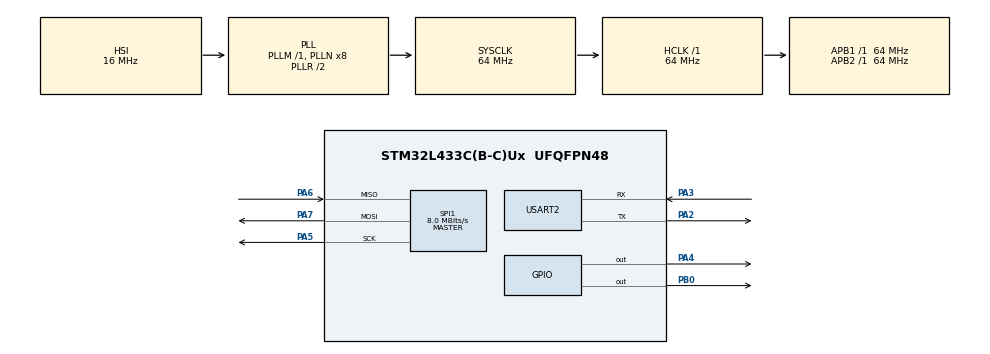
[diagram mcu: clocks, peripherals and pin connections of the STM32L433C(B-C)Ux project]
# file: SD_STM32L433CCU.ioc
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FATFS._MAX_SS=4096
FATFS._USE_LFN=1
Mcu.Family=STM32L4
Mcu.Name=STM32L433C(B-C)Ux
Mcu.Package=UFQFPN48
NVIC.PriorityGroup=NVIC_PRIORITYGROUP_4
NVIC.SPI1_IRQn=true\:0\:0\:false\:false\:true\:true\:true
NVIC.USART2_IRQn=true\:0\:0\:false\:false\:true\:true\:true
PA2.Mode=Asynchronous
PA2.Signal=USART2_TX
PA3.Mode=Asynchronous
PA3.Signal=USART2_RX
PA4.GPIO_ModeDefaultOutputPP=GPIO_MODE_OUTPUT_PP
PA4.GPIO_PuPd=GPIO_NOPULL
PA4.GPIO_Speed=GPIO_SPEED_FREQ_HIGH
PA4.PinState=GPIO_PIN_RESET
PA4.Signal=GPIO_Output
PA5.Mode=Full_Duplex_Master
PA5.Signal=SPI1_SCK
PA6.Mode=Full_Duplex_Master
PA6.Signal=SPI1_MISO
PA7.Mode=Full_Duplex_Master
PA7.Signal=SPI1_MOSI
PB0.GPIO_ModeDefaultOutputPP=GPIO_MODE_OUTPUT_PP
PB0.GPIO_PuPd=GPIO_NOPULL
PB0.GPIO_Speed=GPIO_SPEED_FREQ_HIGH
PB0.PinState=GPIO_PIN_RESET
PB0.Signal=GPIO_Output
ProjectManager.HeapSize=0x200
ProjectManager.StackSize=0x400
ProjectManager.TargetToolchain=STM32CubeIDE
RCC.ADCFreq_Value=64000000
RCC.AHBFreq_Value=64000000
RCC.APB1Freq_Value=64000000
RCC.APB1TimFreq_Value=64000000
RCC.APB2Freq_Value=64000000
RCC.APB2TimFreq_Value=64000000
RCC.CortexFreq_Value=64000000
RCC.HCLKFreq_Value=64000000
RCC.HSE_VALUE=8000000
RCC.HSI48_VALUE=48000000
RCC.HSI_VALUE=16000000
RCC.LSE_VALUE=32768
RCC.MSI_VALUE=4000000
RCC.PLLSourceVirtual=RCC_PLLSOURCE_HSI
RCC.SYSCLKFreq_VALUE=64000000
RCC.SYSCLKSource=RCC_SYSCLKSOURCE_PLLCLK
RCC.USBFreq_Value=64000000
RCC.VCOOutputFreq_Value=128000000
SPI1.BaudRatePrescaler=SPI_BAUDRATEPRESCALER_8
SPI1.CalculateBaudRate=8.0 MBits/s
SPI1.DataSize=SPI_DATASIZE_8BIT
SPI1.Direction=SPI_DIRECTION_2LINES
SPI1.Mode=SPI_MODE_MASTER
SPI1.VirtualType=VM_MASTER
USART2.VirtualMode-Asynchronous=VM_ASYNC
VP_FATFS_VS_Generic.Mode=User_defined
board=custom

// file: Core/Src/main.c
/* USER CODE BEGIN Header */
/**
  ******************************************************************************
  * @file           : main.c
  * @brief          : Main program body
  ******************************************************************************
  * @attention
  *
  * <h2><center>&copy; Copyright (c) 2020 STMicroelectronics.
  * All rights reserved.</center></h2>
  *
  * This software component is licensed by ST under BSD 3-Clause license,
  * the "License"; You may not use this file except in compliance with the
  * License. You may obtain a copy of the License at:
  *                        opensource.org/licenses/BSD-3-Clause
  *
  ******************************************************************************
  */
/* USER CODE END Header */

#include "main.h"
#include "fatfs.h"
/* USER CODE BEGIN Includes */
#include "fatfs_sd.h"
#include "string.h"
#include "stdio.h"
/* USER CODE END Includes */

/* USER CODE BEGIN PTD */
FATFS fs;  // file system
FIL fil; // File
FILINFO fno;
FRESULT fresult;  // result
UINT br, bw;  // File read/write count

/**** capacity related *****/
FATFS *pfs;
DWORD fre_clust;
uint32_t total, free_space;
/* USER CODE END PTD */

/* USER CODE BEGIN PM */
#define BUFFER_SIZE 128
char buffer[BUFFER_SIZE];  // to store strings..
/* USER CODE END PM */

SPI_HandleTypeDef hspi1;

UART_HandleTypeDef huart2;

void SystemClock_Config(void);
static void MX_GPIO_Init(void);
static void MX_USART2_UART_Init(void);
static void MX_SPI1_Init(void);

/* USER CODE BEGIN 0 */
volatile uint8_t FatFsCnt = 0;
volatile uint8_t Timer1, Timer2;

void SDTimer_Handler(void)
{
  if(Timer1 > 0)
    Timer1--;

  if(Timer2 > 0)
    Timer2--;
}

int i=0;
int bufsize (char *buf)
{
	int i=0;
	while (*buf++ != '\0') i++;
	return i;
}

void clear_buffer (void)
{
	for (int i=0; i<BUFFER_SIZE; i++) buffer[i] = '\0';
}
void SysTick_Handler(void)
{
  /* USER CODE BEGIN SysTick_IRQn 0 */

  /* USER CODE END SysTick_IRQn 0 */
	  /* USER CODE BEGIN SysTick_IRQn 0 */
	  FatFsCnt++;
	  if(FatFsCnt >= 10)
	  {
	    FatFsCnt = 0;
	    SDTimer_Handler();
	  }

	  /* USER CODE END SysTick_IRQn 0 */
	  HAL_IncTick();
	  HAL_SYSTICK_IRQHandler();
  /* USER CODE BEGIN SysTick_IRQn 1 */

  /* USER CODE END SysTick_IRQn 1 */
}
/* USER CODE END 0 */
int main(void)
{

  /* MCU Configuration--------------------------------------------------------*/

  /* Reset of all peripherals, Initializes the Flash interface and the Systick. */
  HAL_Init();

  /* Configure the system clock */
  SystemClock_Config();

  /* Initialize all configured peripherals */
  MX_GPIO_Init();
  MX_USART2_UART_Init();
  MX_SPI1_Init();
  MX_FATFS_Init();

  /* Infinite loop */
  while (1)
  {
	  	  fresult = f_mount(&fs, "",1);
	  	  if (fresult != FR_OK) printf ("ERROR!!! in mounting SD CARD...\n\n");
	  	  else printf("SD CARD mounted successfully...\n\n");
	  	  HAL_Delay(1000);
	  	  fresult = f_open(&fil, "file1.txt", FA_OPEN_ALWAYS | FA_READ | FA_WRITE);

	  	  	/* Writing text */
	  	  	f_puts("This data is from the FILE1.txt. And it was written using ...f_puts... ", &fil);

	  	  	/* Close file */
	  	  	fresult = f_close(&fil);

	  	  	if (fresult == FR_OK)printf ("File1.txt created and the data is written \n");

	  	  	/* Open file to read */
	  	  	fresult = f_open(&fil, "file1.txt", FA_READ);

	  	  	/* Read string from the file */
	  	  	f_gets(buffer, f_size(&fil), &fil);

	  	  	printf("File1.txt is opened and it contains the data as shown below\n");
	  	  	printf(buffer);
	  	  	printf("\n\n");

	  	  	/* Close file */
	  	  	f_close(&fil);

	  	  	clear_buffer();

	  	  printf("File1.txt is opened and it contains the data as shown below\n");
	  	  HAL_Delay(1000);
  }
}

void SystemClock_Config(void)
{
  RCC_OscInitTypeDef RCC_OscInitStruct = {0};
  RCC_ClkInitTypeDef RCC_ClkInitStruct = {0};
  RCC_PeriphCLKInitTypeDef PeriphClkInit = {0};

  /** Initializes the CPU, AHB and APB busses clocks
  */
  RCC_OscInitStruct.OscillatorType = RCC_OSCILLATORTYPE_HSI;
  RCC_OscInitStruct.HSIState = RCC_HSI_ON;
  RCC_OscInitStruct.HSICalibrationValue = RCC_HSICALIBRATION_DEFAULT;
  RCC_OscInitStruct.PLL.PLLState = RCC_PLL_ON;
  RCC_OscInitStruct.PLL.PLLSource = RCC_PLLSOURCE_HSI;
  RCC_OscInitStruct.PLL.PLLM = 1;
  RCC_OscInitStruct.PLL.PLLN = 8;
  RCC_OscInitStruct.PLL.PLLP = RCC_PLLP_DIV7;
  RCC_OscInitStruct.PLL.PLLQ = RCC_PLLQ_DIV2;
  RCC_OscInitStruct.PLL.PLLR = RCC_PLLR_DIV2;
  if (HAL_RCC_OscConfig(&RCC_OscInitStruct) != HAL_OK)
  {
    Error_Handler();
  }
  /** Initializes the CPU, AHB and APB busses clocks
  */
  RCC_ClkInitStruct.ClockType = RCC_CLOCKTYPE_HCLK|RCC_CLOCKTYPE_SYSCLK
                              |RCC_CLOCKTYPE_PCLK1|RCC_CLOCKTYPE_PCLK2;
  RCC_ClkInitStruct.SYSCLKSource = RCC_SYSCLKSOURCE_PLLCLK;
  RCC_ClkInitStruct.AHBCLKDivider = RCC_SYSCLK_DIV1;
  RCC_ClkInitStruct.APB1CLKDivider = RCC_HCLK_DIV1;
  RCC_ClkInitStruct.APB2CLKDivider = RCC_HCLK_DIV1;

  if (HAL_RCC_ClockConfig(&RCC_ClkInitStruct, FLASH_LATENCY_3) != HAL_OK)
  {
    Error_Handler();
  }
  PeriphClkInit.PeriphClockSelection = RCC_PERIPHCLK_USART2;
  PeriphClkInit.Usart2ClockSelection = RCC_USART2CLKSOURCE_PCLK1;
  if (HAL_RCCEx_PeriphCLKConfig(&PeriphClkInit) != HAL_OK)
  {
    Error_Handler();
  }
  /** Configure the main internal regulator output voltage
  */
  if (HAL_PWREx_ControlVoltageScaling(PWR_REGULATOR_VOLTAGE_SCALE1) != HAL_OK)
  {
    Error_Handler();
  }
}

static void MX_SPI1_Init(void)
{

  /* SPI1 parameter configuration*/
  hspi1.Instance = SPI1;
  hspi1.Init.Mode = SPI_MODE_MASTER;
  hspi1.Init.Direction = SPI_DIRECTION_2LINES;
  hspi1.Init.DataSize = SPI_DATASIZE_8BIT;
  hspi1.Init.CLKPolarity = SPI_POLARITY_LOW;
  hspi1.Init.CLKPhase = SPI_PHASE_1EDGE;
  hspi1.Init.NSS = SPI_NSS_SOFT;
  hspi1.Init.BaudRatePrescaler = SPI_BAUDRATEPRESCALER_8;
  hspi1.Init.FirstBit = SPI_FIRSTBIT_MSB;
  hspi1.Init.TIMode = SPI_TIMODE_DISABLE;
  hspi1.Init.CRCCalculation = SPI_CRCCALCULATION_DISABLE;
  hspi1.Init.CRCPolynomial = 7;
  hspi1.Init.CRCLength = SPI_CRC_LENGTH_DATASIZE;
  hspi1.Init.NSSPMode = SPI_NSS_PULSE_ENABLE;
  if (HAL_SPI_Init(&hspi1) != HAL_OK)
  {
    Error_Handler();
  }

}

static void MX_USART2_UART_Init(void)
{

  huart2.Instance = USART2;
  huart2.Init.BaudRate = 115200;
  huart2.Init.WordLength = UART_WORDLENGTH_8B;
  huart2.Init.StopBits = UART_STOPBITS_1;
  huart2.Init.Parity = UART_PARITY_NONE;
  huart2.Init.Mode = UART_MODE_TX_RX;
  huart2.Init.HwFlowCtl = UART_HWCONTROL_NONE;
  huart2.Init.OverSampling = UART_OVERSAMPLING_16;
  huart2.Init.OneBitSampling = UART_ONE_BIT_SAMPLE_DISABLE;
  huart2.AdvancedInit.AdvFeatureInit = UART_ADVFEATURE_NO_INIT;
  if (HAL_UART_Init(&huart2) != HAL_OK)
  {
    Error_Handler();
  }

}

static void MX_GPIO_Init(void)
{
  GPIO_InitTypeDef GPIO_InitStruct = {0};

  /* GPIO Ports Clock Enable */
  __HAL_RCC_GPIOA_CLK_ENABLE();
  __HAL_RCC_GPIOB_CLK_ENABLE();

  /*Configure GPIO pin Output Level */
  HAL_GPIO_WritePin(GPIOA, GPIO_PIN_4, GPIO_PIN_RESET);

  /*Configure GPIO pin Output Level */
  HAL_GPIO_WritePin(GPIOB, GPIO_PIN_0, GPIO_PIN_RESET);

  /*Configure GPIO pin : PA4 */
  GPIO_InitStruct.Pin = GPIO_PIN_4;
  GPIO_InitStruct.Mode = GPIO_MODE_OUTPUT_PP;
  GPIO_InitStruct.Pull = GPIO_NOPULL;
  GPIO_InitStruct.Speed = GPIO_SPEED_FREQ_HIGH;
  HAL_GPIO_Init(GPIOA, &GPIO_InitStruct);

  /*Configure GPIO pin : PB0 */
  GPIO_InitStruct.Pin = GPIO_PIN_0;
  GPIO_InitStruct.Mode = GPIO_MODE_OUTPUT_PP;
  GPIO_InitStruct.Pull = GPIO_NOPULL;
  GPIO_InitStruct.Speed = GPIO_SPEED_FREQ_HIGH;
  HAL_GPIO_Init(GPIOB, &GPIO_InitStruct);

}

void Error_Handler(void)
{
}

/************************ (C) COPYRIGHT STMicroelectronics *****END OF FILE****/
